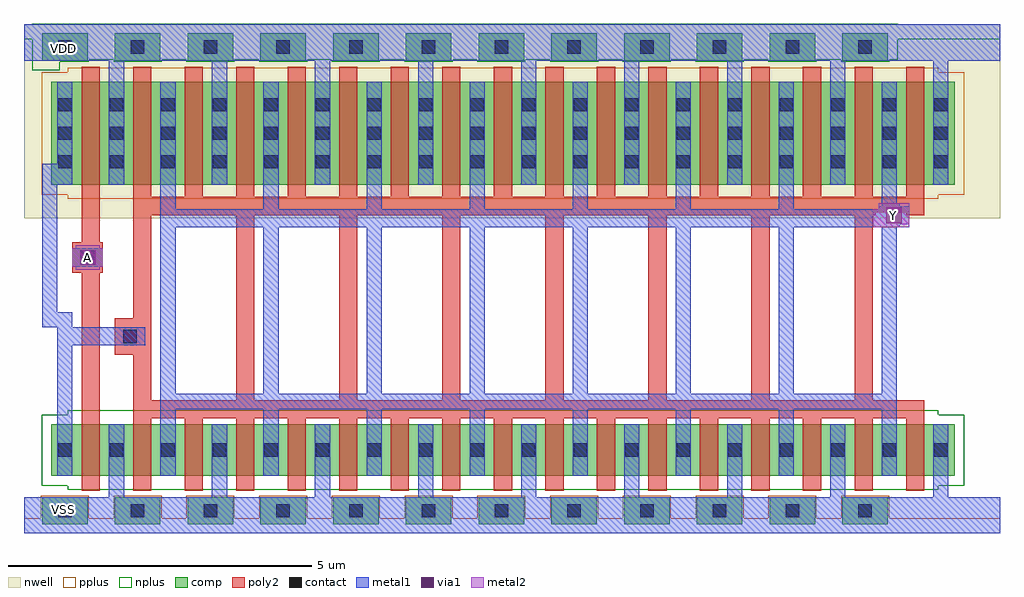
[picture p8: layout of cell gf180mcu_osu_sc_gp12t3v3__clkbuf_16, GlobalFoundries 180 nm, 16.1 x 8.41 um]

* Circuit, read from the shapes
.subckt gf180mcu_osu_sc_gp12t3v3__clkbuf_16 A VDD VSS Y
XM1 VSS A n1 VSS nfet_03v3 w=0.85u l=0.3u
XM2 Y n1 VSS VSS nfet_03v3 w=0.85u l=0.3u m=16
XM3 VDD A n1 VDD pfet_03v3 w=1.7u l=0.3u
XM4 Y n1 VDD VDD pfet_03v3 w=1.7u l=0.3u m=16
.ends

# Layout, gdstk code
import gdstk
lib = gdstk.Library(unit=1e-6, precision=1e-09)
def R(c, l, rs):  # rectangles x0, y0, x1, y1
    for r in rs: c.add(gdstk.rectangle(r[:2], r[2:], *l))
def A(c, l, x, y, w, h, nx, ny, dx, dy):  # array of equal rectangles
    R(c, l, [(x+i*dx, y+j*dy, x+i*dx+w, y+j*dy+h) for i in range(nx) for j in range(ny)])
nwell = (21, 0)
comp = (22, 0)
poly2 = (30, 0)
pplus = (31, 0)
nplus = (32, 0)
contact = (33, 0)
metal1 = (34, 0)
via1 = (35, 0)
metal2 = (36, 0)

gf180mcu_osu_sc_gp12t3v3 = lib.new_cell('gf180mcu_osu_sc_gp12t3v3__clkbuf_16')
R(gf180mcu_osu_sc_gp12t3v3, nwell, [(0,5.2,16.1,8.4)])
A(gf180mcu_osu_sc_gp12t3v3, comp, 0.3, 0.15, 0.75, 0.45, 12, 2, 1.2, 7.65)
R(gf180mcu_osu_sc_gp12t3v3, comp, [(0.45,0.95,15.35,1.8), (0.45,5.75,15.35,7.45)])
A(gf180mcu_osu_sc_gp12t3v3, poly2, 1.8, 0.7, 0.3, 1.2, 16, 1, 0.85, 0)
A(gf180mcu_osu_sc_gp12t3v3, poly2, 3.5, 2.2, 0.3, 3.05, 7, 1, 1.7, 0)
A(gf180mcu_osu_sc_gp12t3v3, poly2, 1.8, 5.55, 0.3, 2.15, 16, 1, 0.85, 0)
R(gf180mcu_osu_sc_gp12t3v3, poly2, [(0.95,0.7,1.25,4.3), (1.8,1.9,14.85,2.2), (1.8,2.2,2.1,2.95), (1.5,2.95,2.1,3.55), (1.8,3.55,2.1,5.25), (0.8,4.3,1.3,4.8), (0.95,4.8,1.25,7.7), (1.8,5.25,14.05,5.3), (14.55,5.25,14.85,5.3), (1.8,5.3,14.85,5.55)])
A(gf180mcu_osu_sc_gp12t3v3, pplus, 0.28, 0.13, 0.79, 0.49, 12, 1, 1.2, 0)
R(gf180mcu_osu_sc_gp12t3v3, pplus, [(0,0,16.1,0.25), (0.72,5.52,15.08,5.59), (0.29,5.59,15.51,7.61), (0.72,7.61,15.08,7.68)])
A(gf180mcu_osu_sc_gp12t3v3, nplus, 1.48, 7.78, 0.79, 0.03, 11, 1, 1.2, 0)
R(gf180mcu_osu_sc_gp12t3v3, nplus, [(0.72,0.72,15.08,0.79), (0.29,0.79,15.51,1.96), (0.72,1.96,15.08,2.03), (0.14,7.64,0.59,7.78), (0.14,7.78,1.07,7.81), (0.14,7.81,14.41,8.15), (0,8.15,16.1,8.4), (0,8.15,16.1,8.4), (0.14,8.4,14.41,8.41)])
A(gf180mcu_osu_sc_gp12t3v3, contact, 0.565, 0.265, 0.22, 0.22, 12, 2, 1.2, 7.65)
A(gf180mcu_osu_sc_gp12t3v3, contact, 0.565, 1.265, 0.22, 0.22, 18, 2, 0.85, 4.755)
A(gf180mcu_osu_sc_gp12t3v3, contact, 0.565, 6.49, 0.22, 0.22, 18, 2, 0.85, 0.47)
R(gf180mcu_osu_sc_gp12t3v3, contact, [(1.64,3.14,1.86,3.36), (0.94,4.44,1.16,4.66)])
A(gf180mcu_osu_sc_gp12t3v3, metal1, 1.4, 0.6, 0.25, 1.2, 9, 1, 1.7, 0)
A(gf180mcu_osu_sc_gp12t3v3, metal1, 2.25, 0.95, 0.25, 1.1, 8, 1, 1.7, 0)
A(gf180mcu_osu_sc_gp12t3v3, metal1, 2.25, 2.3, 0.25, 2.75, 8, 1, 1.7, 0)
A(gf180mcu_osu_sc_gp12t3v3, metal1, 2.25, 5.35, 0.25, 2.1, 7, 1, 1.7, 0)
A(gf180mcu_osu_sc_gp12t3v3, metal1, 1.4, 5.75, 0.25, 2.05, 9, 1, 1.7, 0)
R(gf180mcu_osu_sc_gp12t3v3, metal1, [(0,0,16.1,0.6), (0.55,0.95,0.8,3.1), (2.25,2.05,14.4,2.3), (0.55,3.1,2,3.4), (0.3,3.4,0.8,3.65), (0.3,3.65,0.55,5.75), (0.8,4.4,1.3,4.7), (2.25,5.05,14.45,5.1), (2.25,5.1,14.6,5.35), (14.1,5.35,14.6,5.4), (14.15,5.4,14.45,5.45), (14.15,5.45,14.4,7.45), (0.3,5.75,0.8,6.1), (0.55,6.1,0.8,7.45), (0,7.8,16.1,8.4)])
R(gf180mcu_osu_sc_gp12t3v3, via1, [(0.92,4.42,1.18,4.68), (14.22,5.12,14.48,5.38)])
R(gf180mcu_osu_sc_gp12t3v3, metal2, [(0.85,4.35,1.25,4.4), (0.8,4.4,1.3,4.7), (0.85,4.7,1.25,4.75), (14,5.05,14.6,5.35), (14.1,5.35,14.6,5.45)])
gf180mcu_osu_sc_gp12t3v3.add(gdstk.Label('A', (1.05,4.55), layer=36, texttype=10))
gf180mcu_osu_sc_gp12t3v3.add(gdstk.Label('Y', (14.35,5.25), layer=36, texttype=10))
gf180mcu_osu_sc_gp12t3v3.add(gdstk.Label('VDD', (0.65,8), layer=34, texttype=10))
gf180mcu_osu_sc_gp12t3v3.add(gdstk.Label('VSS', (0.65,0.4), layer=34, texttype=10))

lib.write_gds('gf180mcu_osu_sc_gp12t3v3__clkbuf_16.gds')
